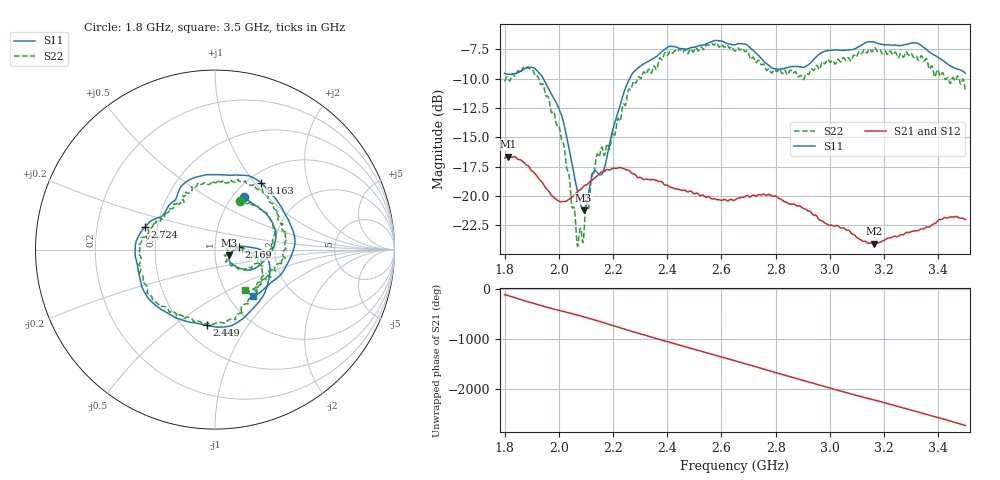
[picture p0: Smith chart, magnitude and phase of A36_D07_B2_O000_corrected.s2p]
! Created with skrf 1.9.0 (http://scikit-rf.org).
# Hz S RI R 50.0
!freq ReS11 ImS11 ReS21 ImS21 ReS12 ImS12 ReS22 ImS22
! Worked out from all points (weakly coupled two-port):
!   1601 points, 1.8 GHz to 3.5 GHz, reference 50 ohm
!   highest |S21| = -16.63 dB at 1.812 GHz (marker M1); lowest = -24.1 dB at 3.163 GHz (marker M2)
!   lowest |S11| = -21.2 dB at 2.091 GHz (marker M3), VSWR 1.19, Z = 58.6 - j3.88 ohm
!   |S11| at or under -10 dB: 1.943 GHz to 2.261 GHz (318.1 MHz wide, 15.1 % of centre)
!   |S22| runs from -24.3 to -7.0 dB; largest |S21 - S12| = 0.0028
!   S11 on the Smith chart (normalised r, x): 1.8 GHz: 1.13, +0.74; 2.169 GHz: 1.30, +0.04; 2.449 GHz: 0.64, -0.66; 2.724 GHz: 0.43, +0.13; 3.163 GHz: 1.15, +1.08; 3.5 GHz: 1.28, -0.75
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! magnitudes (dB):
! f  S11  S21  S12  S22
! 1.8 GHz  -9.5  -16.8  -16.8  -10.2
! 1.812 GHz  -9.6  -16.6  -16.6  -9.9
! 1.887 GHz  -9.1  -17.4  -17.5  -9.0
! 1.942 GHz  -10.0  -19.0  -19.0  -10.5
! 2.013 GHz  -13.3  -20.5  -20.5  -15.4
! 2.067 GHz  -19.4  -19.7  -19.7  -24.0
! 2.084 GHz  -21.0  -19.4  -19.3  -23.2
! 2.091 GHz  -21.2  -19.2  -19.2  -23.7
! 2.137 GHz  -17.8  -18.4  -18.4  -16.9
! 2.169 GHz  -17.6  -17.9  -17.9  -16.5
! 2.204 GHz  -14.0  -17.6  -17.6  -14.8
! 2.259 GHz  -10.1  -17.8  -17.8  -10.9
! 2.367 GHz  -8.0  -18.7  -18.7  -8.6
! 2.449 GHz  -7.4  -19.5  -19.5  -7.5
! 2.65 GHz  -7.1  -20.3  -20.3  -7.7
! 2.724 GHz  -7.7  -20.0  -20.0  -8.5
! 2.798 GHz  -9.2  -20.0  -20.0  -9.2
! 2.934 GHz  -8.5  -21.5  -21.5  -9.2
! 3.163 GHz  -6.9  -24.1  -24.0  -7.4
! 3.217 GHz  -7.1  -23.6  -23.5  -7.8
! 3.324 GHz  -7.0  -23.0  -22.9  -8.3
! 3.5 GHz  -9.6  -22.0  -22.0  -11.0
